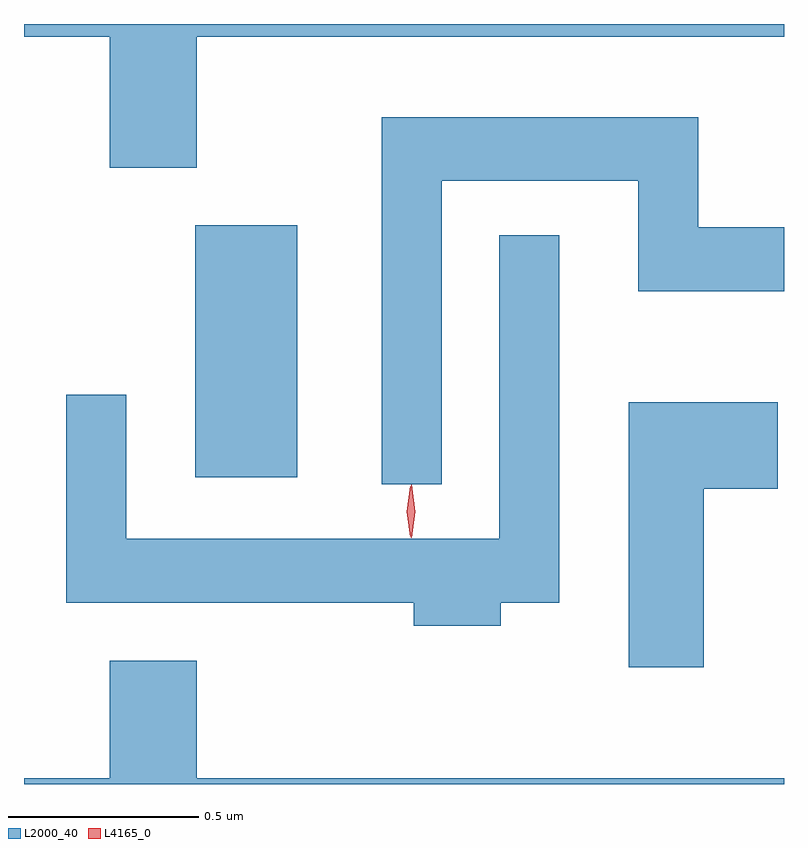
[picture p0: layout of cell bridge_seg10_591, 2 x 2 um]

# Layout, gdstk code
import gdstk
lib = gdstk.Library(unit=1e-6, precision=1e-09)
def R(c, l, rs):  # rectangles x0, y0, x1, y1
    for r in rs: c.add(gdstk.rectangle(r[:2], r[2:], *l))
def P(c, l, *ps):  # polygons
    for p in ps: c.add(gdstk.Polygon(p, *l))
L2000_40 = (2000, 40)
L4165_0 = (4165, 0)

bridge_seg10_591 = lib.new_cell('bridge_seg10_591')
R(bridge_seg10_591, L2000_40, [(769.896,2174.916,770.164,2175.579)])
P(bridge_seg10_591, L2000_40, [(769.899,2176.076),(771.445,2176.076),(771.445,2176.109),(769.445,2176.109),(769.445,2176.076),(769.671,2176.076),(769.671,2175.731),(769.899,2175.731)],
  [(770.544,2175.696),(771.061,2175.696),(771.061,2175.406),(771.445,2175.406),(771.445,2175.574),(771.219,2175.574),(771.219,2175.864),(770.386,2175.864),(770.386,2174.898),(770.544,2174.898)],
  [(770.699,2174.586),(770.854,2174.586),(770.854,2175.553),(770.696,2175.553),(770.696,2174.754),(769.714,2174.754),(769.714,2175.133),(769.556,2175.133),(769.556,2174.586),(770.471,2174.586),(770.471,2174.526),(770.699,2174.526)],
  [(771.234,2174.886),(771.429,2174.886),(771.429,2175.114),(771.036,2175.114),(771.036,2174.416),(771.234,2174.416)],
  [(771.445,2174.124),(769.899,2174.124),(769.899,2174.434),(769.671,2174.434),(769.671,2174.124),(769.445,2174.124),(769.445,2174.109),(771.445,2174.109)])
P(bridge_seg10_591, L4165_0, [(770.464,2174.757),(770.455,2174.826),(770.464,2174.896),(770.465,2174.896),(770.465,2174.896),(770.475,2174.826),(770.465,2174.757),(770.465,2174.757)],
  [(770.462,2174.759),(770.461,2174.76),(770.452,2174.826),(770.461,2174.892),(770.462,2174.893),(770.462,2174.892),(770.472,2174.826),(770.462,2174.76)])

lib.write_gds('bridge_seg10_591.gds')
